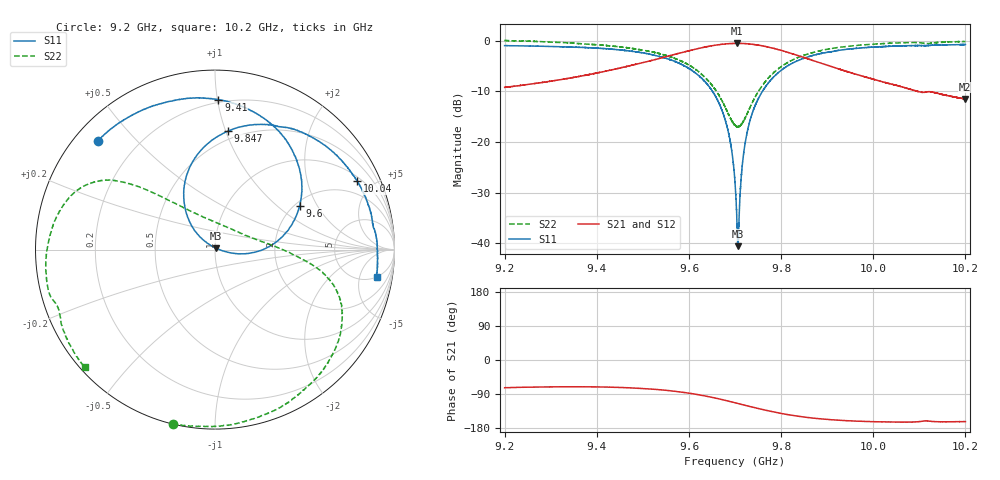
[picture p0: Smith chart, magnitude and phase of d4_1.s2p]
!Agilent Technologies,N5242A,MY51221714,A.09.90.19
!Agilent N5242A: A.09.90.19
!Date: Tuesday, March 26, 2024 16:13:47
!Correction: S11(Full 2 Port(1,2))
!S21(Full 2 Port(1,2))
!S12(Full 2 Port(1,2))
!S22(Full 2 Port(1,2))
!S2P File: Measurements: S11, S21, S12, S22:
# Hz S  dB  R 50
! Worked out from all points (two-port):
!   16001 points, 9.2 GHz to 10.2 GHz, reference 50 ohm
!   highest |S21| = -0.55 dB at 9.704 GHz (marker M1); lowest = -11.5 dB at 10.2 GHz (marker M2)
!   |S21| within 3 dB of the highest: 9.53492 GHz to 9.535059 GHz (139.2 kHz wide, 0.00146 % of centre); 9.535 GHz to 9.856 GHz (321.2 MHz wide, 3.31 % of centre)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
!   lowest |S11| = -40.5 dB at 9.706 GHz (marker M3), VSWR 1.02, Z = 50.6 + j0.729 ohm
!   |S11| at or under -10 dB: 9.650939 GHz to 9.651043 GHz (104.4 kHz wide, 0.00108 % of centre); 9.651 GHz to 9.759 GHz (108.4 MHz wide, 1.12 % of centre); 9.759513 GHz to 9.759684 GHz (171.1 kHz wide, 0.00175 % of centre)
!   |S22| runs from -17.0 to 0.0 dB; largest |S21 - S12| = 0.012
!   S11 on the Smith chart (normalised r, x): 9.2 GHz: 0.07, +0.39; 9.41 GHz: 0.18, +1.01; 9.6 GHz: 2.12, +1.44; 9.847 GHz: 0.43, +1.02; 10.04 GHz: 1.20, +4.06; 10.2 GHz: 5, -9
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9.2e9  -1.01 137.0  -9.23 -73.2  -9.21 -74.0  -0.00 -103.6
9.366688e9  -1.36 99.7  -6.99 -70.7  -6.98 -71.4  -0.64 -59.3
9.409938e9  -1.56 88.7  -6.21 -71.3  -6.20 -71.9  -0.90 -48.4
9.533375e9  -3.09 52.3  -3.59 -78.1  -3.57 -78.7  -2.50 -21.4
9.600062e9  -5.51 27.4  -2.01 -87.6  -2.01 -88.1  -4.82 -10.1
9.67075e9  -13.52 -4.7  -0.75 -104.2  -0.74 -104.7  -11.68 10.4
9.689688e9  -19.93 -11.2  -0.60 -109.6  -0.60 -110.2  -15.28 31.1
9.7e9  -27.89 -8.4  -0.57 -112.8  -0.56 -113.3  -16.68 52.1
9.704438e9  -36.13 13.7  -0.55 -114.1  -0.54 -114.7  -16.94 62.9
9.705938e9  -40.53 50.0  -0.57 -114.7  -0.55 -115.1  -17.02 66.4
9.709125e9  -34.16 122.9  -0.57 -115.6  -0.55 -116.1  -16.91 74.6
9.715188e9  -25.13 140.0  -0.59 -117.5  -0.57 -118.0  -16.34 88.8
9.72175e9  -20.37 140.3  -0.62 -119.5  -0.60 -120.0  -15.35 101.9
9.743625e9  -12.82 130.8  -0.81 -126.1  -0.81 -126.6  -11.16 125.3
9.785688e9  -7.01 110.6  -1.58 -137.5  -1.59 -138.1  -6.18 138.3
9.847438e9  -3.56 83.8  -3.28 -150.1  -3.28 -150.6  -2.97 147.0
9.866688e9  -2.99 76.5  -3.86 -152.9  -3.87 -153.4  -2.42 149.7
9.934375e9  -1.83 54.1  -5.88 -159.6  -5.87 -160.1  -1.25 161.0
1.003338e10  -1.16 27.2  -8.46 -163.4  -8.44 -164.1  -0.55 -178.5
1.003988e10  -1.11 25.6  -8.60 -163.5  -8.61 -164.1  -0.52 -177.1
1.019975e10  -0.80 -9.5  -11.54 -162.5  -11.53 -163.1  -0.20 -137.9
1.02e10  -0.79 -9.5  -11.54 -162.6  -11.55 -163.1  -0.20 -137.8
